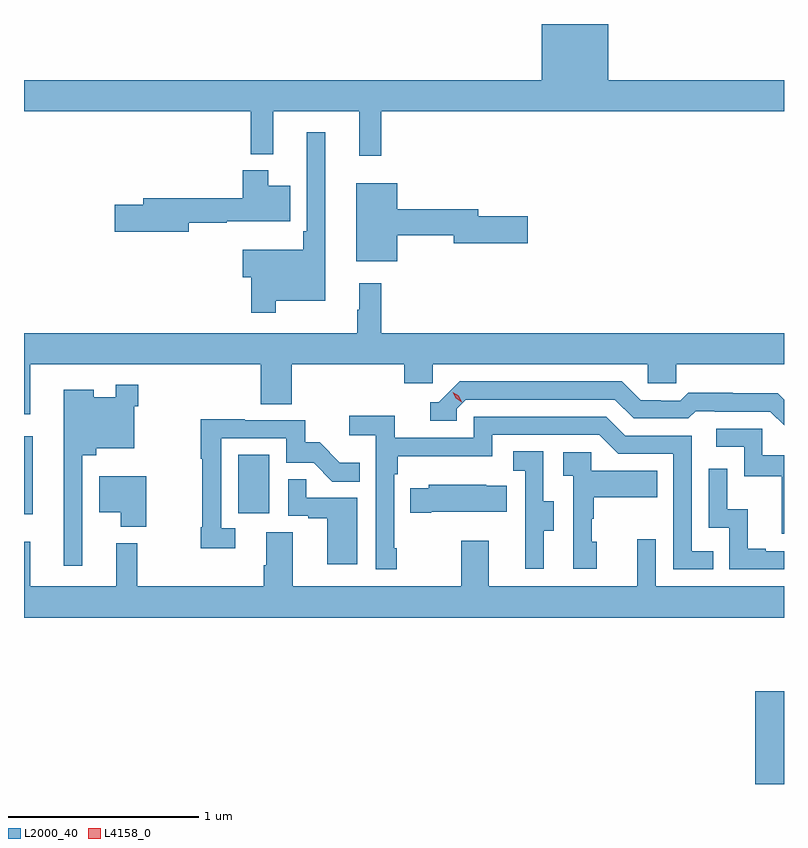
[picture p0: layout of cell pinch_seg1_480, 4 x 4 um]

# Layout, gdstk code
import gdstk
lib = gdstk.Library(unit=1e-6, precision=1e-09)
def R(c, l, rs):  # rectangles x0, y0, x1, y1
    for r in rs: c.add(gdstk.rectangle(r[:2], r[2:], *l))
def P(c, l, *ps):  # polygons
    for p in ps: c.add(gdstk.Polygon(p, *l))
L2000_40 = (2000, 40)
L4158_0 = (4158, 0)

pinch_seg1_480 = lib.new_cell('pinch_seg1_480')
R(pinch_seg1_480, L2000_40, [(1104.437,528.212,1104.588,528.7), (1100.588,529.631,1100.635,530.041), (1101.716,529.638,1101.88,529.945)])
P(pinch_seg1_480, L2000_40, [(1102.469,531.752),(1104.588,531.752),(1104.588,531.916),(1103.662,531.916),(1103.662,532.212),(1103.312,532.212),(1103.312,531.916),(1100.588,531.916),(1100.588,531.752),(1101.781,531.752),(1101.781,531.527),(1101.899,531.527),(1101.899,531.752),(1102.352,531.752),(1102.352,531.519),(1102.469,531.519)],
  [(1101.913,530.756),(1102.174,530.756),(1102.174,531.643),(1102.077,531.643),(1102.077,531.121),(1102.057,531.121),(1102.057,531.025),(1101.74,531.025),(1101.74,530.878),(1101.784,530.878),(1101.784,530.691),(1101.913,530.691)],
  [(1101.454,531.166),(1101.656,531.166),(1101.656,531.173),(1101.988,531.173),(1101.988,531.361),(1101.874,531.361),(1101.874,531.442),(1101.74,531.442),(1101.74,531.295),(1101.215,531.295),(1101.215,531.261),(1101.066,531.261),(1101.066,531.119),(1101.454,531.119)],
  [(1102.552,531.1),(1102.85,531.1),(1102.85,531.058),(1103.239,531.058),(1103.239,531.2),(1102.978,531.2),(1102.978,531.236),(1102.552,531.236),(1102.552,531.373),(1102.337,531.373),(1102.337,530.963),(1102.552,530.963)],
  [(1100.62,530.42),(1101.833,530.42),(1101.833,530.212),(1101.998,530.212),(1101.998,530.42),(1102.589,530.42),(1102.589,530.322),(1102.74,530.322),(1102.74,530.42),(1103.871,530.42),(1103.871,530.322),(1104.021,530.322),(1104.021,530.42),(1104.588,530.42),(1104.588,530.584),(1102.469,530.584),(1102.469,530.848),(1102.352,530.848),(1102.352,530.708),(1102.341,530.708),(1102.341,530.584),(1100.588,530.584),(1100.588,530.157),(1100.62,530.157)],
  [(1104.588,530.235),(1104.554,530.269),(1104.318,530.269),(1104.318,530.272),(1104.085,530.272),(1104.043,530.229),(1103.94,530.229),(1103.94,530.232),(1103.833,530.232),(1103.734,530.331),(1102.881,530.331),(1102.77,530.22),(1102.727,530.22),(1102.727,530.124),(1102.866,530.124),(1102.866,530.187),(1102.914,530.235),(1103.697,530.235),(1103.796,530.136),(1104.085,530.136),(1104.124,530.175),(1104.223,530.175),(1104.223,530.172),(1104.516,530.172),(1104.588,530.1)],
  [(1100.895,529.943),(1100.969,529.943),(1100.969,529.979),(1101.168,529.979),(1101.168,530.201),(1101.188,530.201),(1101.188,530.314),(1101.072,530.314),(1101.072,530.248),(1100.956,530.248),(1100.956,530.287),(1100.798,530.287),(1100.798,529.362),(1100.895,529.362)],
  [(1102.549,529.453),(1102.536,529.453),(1102.536,529.841),(1102.556,529.841),(1102.556,529.937),(1103.052,529.937),(1103.052,530.049),(1103.616,530.049),(1103.715,529.95),(1104.006,529.95),(1104.006,529.341),(1104.215,529.341),(1104.215,529.437),(1104.102,529.437),(1104.102,530.046),(1103.752,530.046),(1103.653,530.145),(1102.956,530.145),(1102.956,530.034),(1102.538,530.034),(1102.538,530.15),(1102.299,530.15),(1102.299,530.048),(1102.44,530.048),(1102.44,529.341),(1102.549,529.341)],
  [(1101.7,529.557),(1101.627,529.557),(1101.627,530.031),(1101.969,530.031),(1101.969,529.902),(1102.113,529.902),(1102.211,529.804),(1102.355,529.804),(1102.355,529.903),(1102.251,529.903),(1102.144,530.01),(1102.068,530.01),(1102.068,530.127),(1101.749,530.127),(1101.749,530.132),(1101.519,530.132),(1101.519,529.924),(1101.526,529.924),(1101.526,529.564),(1101.519,529.564),(1101.519,529.452),(1101.7,529.452)],
  [(1104.588,529.941),(1104.474,529.941),(1104.474,530.082),(1104.231,530.082),(1104.231,529.986),(1104.378,529.986),(1104.378,529.833),(1104.577,529.833),(1104.577,529.53),(1104.588,529.53)],
  [(1103.323,529.546),(1103.377,529.546),(1103.377,529.701),(1103.322,529.701),(1103.322,529.964),(1103.163,529.964),(1103.163,529.861),(1103.226,529.861),(1103.226,529.557),(1103.225,529.557),(1103.225,529.344),(1103.323,529.344)],
  [(1103.602,529.488),(1103.577,529.488),(1103.577,529.607),(1103.587,529.607),(1103.587,529.721),(1103.921,529.721),(1103.921,529.861),(1103.574,529.861),(1103.574,529.959),(1103.427,529.959),(1103.427,529.835),(1103.478,529.835),(1103.478,529.344),(1103.602,529.344)],
  [(1104.588,529.437),(1104.493,529.437),(1104.493,529.45),(1104.398,529.45),(1104.398,529.658),(1104.288,529.658),(1104.288,529.87),(1104.192,529.87),(1104.192,529.56),(1104.3,529.56),(1104.3,529.341),(1104.588,529.341)],
  [(1101.232,529.831),(1100.984,529.831),(1100.984,529.643),(1101.098,529.643),(1101.098,529.565),(1101.232,529.565)],
  [(1102.342,529.719),(1102.073,529.719),(1102.073,529.817),(1101.978,529.817),(1101.978,529.623),(1102.085,529.623),(1102.085,529.611),(1102.184,529.611),(1102.184,529.368),(1102.342,529.368)],
  [(1102.732,529.646),(1103.129,529.646),(1103.129,529.783),(1103.021,529.783),(1103.021,529.786),(1102.719,529.786),(1102.719,529.768),(1102.621,529.768),(1102.621,529.639),(1102.732,529.639)],
  [(1104.588,529.252),(1103.913,529.252),(1103.913,529.501),(1103.816,529.501),(1103.816,529.252),(1103.035,529.252),(1103.035,529.492),(1102.888,529.492),(1102.888,529.252),(1102.003,529.252),(1102.003,529.538),(1101.863,529.538),(1101.863,529.364),(1101.851,529.364),(1101.851,529.252),(1101.184,529.252),(1101.184,529.48),(1101.074,529.48),(1101.074,529.252),(1100.621,529.252),(1100.621,529.486),(1100.588,529.486),(1100.588,529.088),(1104.588,529.088)])
P(pinch_seg1_480, L4158_0, [(1102.891,530.221),(1102.86,530.242),(1102.845,530.275),(1102.845,530.275),(1102.845,530.275),(1102.875,530.255),(1102.891,530.222),(1102.891,530.221)])

lib.write_gds('pinch_seg1_480.gds')
